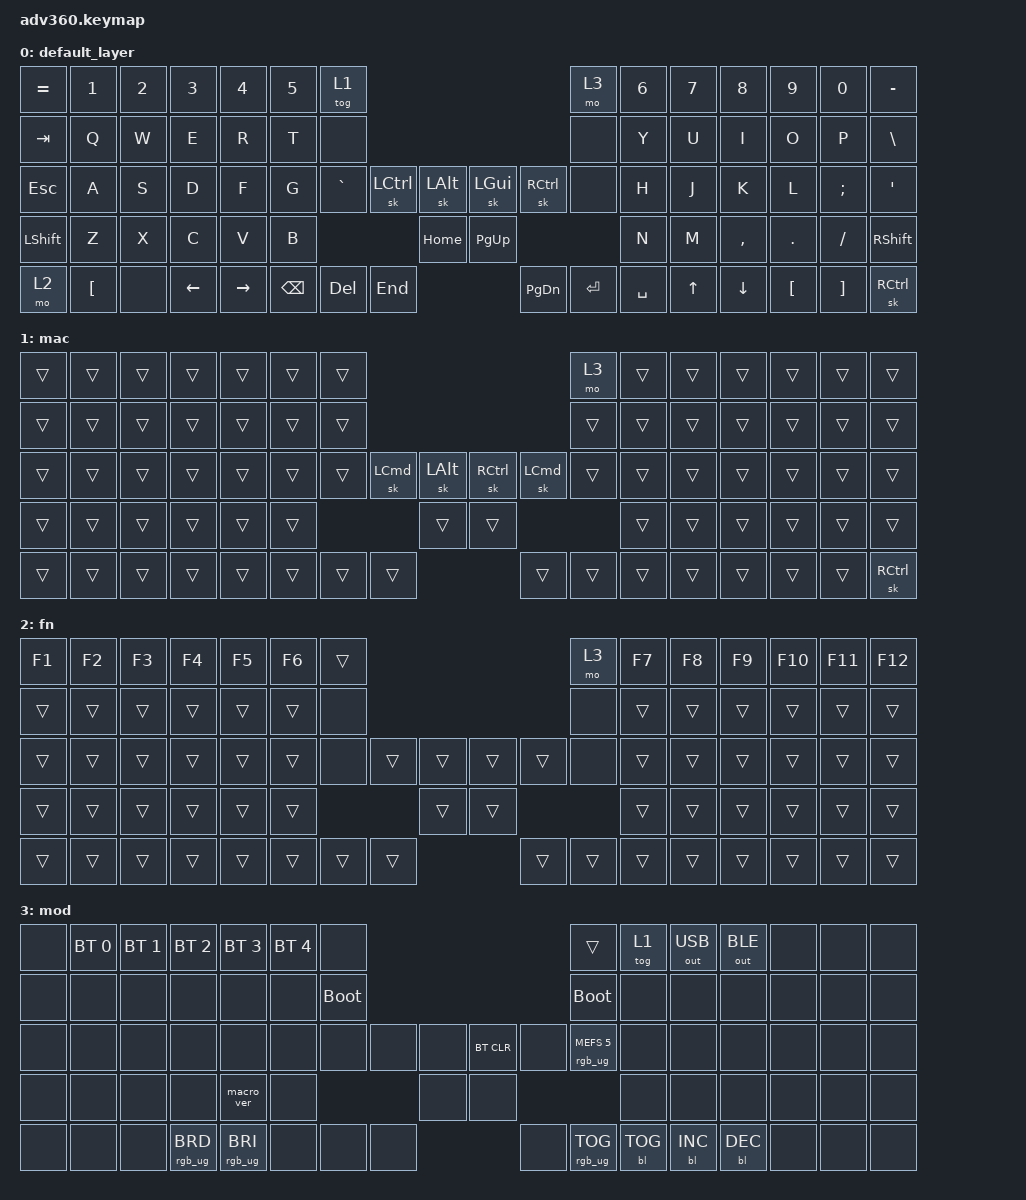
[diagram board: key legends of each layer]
#include <behaviors.dtsi>
#include <dt-bindings/zmk/keys.h>
#include <dt-bindings/zmk/bt.h>
#include <dt-bindings/zmk/outputs.h>
#include <dt-bindings/zmk/rgb.h>
#include <dt-bindings/zmk/backlight.h>

// https://zmk.dev/docs/keymaps/behaviors/sticky-key
&sk {
  // default: 1000ms (1s)
  release-after-ms = <1000>;
  // Deactivates the sticky key on the next key being pressed, instead of
  // being released.
  quick-release;
  // Activate sticky key right before the other key is pressed, prevents
  // host from seeing anything during sticky-key timeout (useful for mouse
  // interactions)
  // NOTE: doesn't compile, ZMK might be too old for the feature.
  //lazy;
};

// https://zmk.dev/docs/keymaps/behaviors/sticky-layer
&sl {
  // default: 1000ms (1s)
  release-after-ms = <1500>;
};


/ {
    behaviors {
      #include "macros.dtsi"
      #include "version.dtsi"
      #ifndef VERSION_MACRO
      macro_ver: macro_ver {
        compatible = "zmk,behavior-macro";
        label = "macro_version";
        #binding-cells = <0>;
        bindings = <&kp RET>;
      };
      #endif

      hm: homerow_mods {
          compatible = "zmk,behavior-hold-tap";
          label = "HOMEROW_MODS";
          #binding-cells = <2>;
          tapping-term-ms = <200>;
          quick_tap_ms = <175>;
          flavor = "tap-preferred";
          bindings = <&kp>, <&kp>;
      };
    };

  keymap {
    compatible = "zmk,keymap";

    // macOS
    //
    // LALT & RALT: Option/Meta
    // LCTRL & RCTRL: Control
    // LGUI & RGUI: Command


    default_layer {
      bindings = <
        &kp EQUAL &kp N1    &kp N2   &kp N3    &kp N4     &kp N5   &tog 1                                                             &mo 3   &kp N6 &kp N7 &kp N8    &kp N9    &kp N0   &kp MINUS
        &kp TAB   &kp Q     &kp W    &kp E     &kp R      &kp T    &none                                                              &none   &kp Y  &kp U  &kp I     &kp O     &kp P    &kp BSLH
        &kp ESC   &kp A     &kp S    &kp D     &kp F      &kp G    &kp GRAVE        &sk LCTRL &sk LALT  &sk LGUI  &sk RCTRL           &none   &kp H  &kp J  &kp K     &kp L     &kp SEMI &kp SQT
        &kp LSHFT &kp Z     &kp X    &kp C     &kp V      &kp B                               &kp HOME  &kp PG_UP                             &kp N  &kp M  &kp COMMA &kp DOT   &kp FSLH &kp RSHFT
        &mo 2     &kp LBKT  &none &kp LEFT  &kp RIGHT                    &kp BSPC &kp DEL  &kp END   &kp PG_DN &kp ENTER &kp SPACE                   &kp UP &kp DOWN  &kp LBKT  &kp RBKT &sk RCTRL
      >;
    };
    mac {
      bindings = <
        &trans &trans &trans &trans &trans &trans   &trans                                                   &mo 3    &trans &trans &trans &trans &trans &trans
        &trans &trans &trans &trans &trans &trans   &trans                                                   &trans   &trans &trans &trans &trans &trans &trans
        &trans &trans &trans &trans &trans &trans   &trans      &sk LCMD  &sk LALT   &sk RCTRL &sk LCMD      &trans   &trans &trans &trans &trans &trans &trans
        &trans &trans &trans &trans &trans &trans                         &trans     &trans                           &trans &trans &trans &trans &trans &trans
        &trans &trans &trans &trans &trans                 &trans  &trans &trans     &trans  &trans  &trans                  &trans &trans &trans &trans &sk RCTRL
      >;
    };
    fn {
      bindings = <
        &kp F1 &kp F2 &kp F3 &kp F4 &kp F5 &kp F6  &trans                                          &mo 3  &kp F7 &kp F8 &kp F9 &kp F10 &kp F11 &kp F12
        &trans &trans &trans &trans &trans &trans  &none                                           &none  &trans &trans &trans &trans  &trans  &trans
        &trans &trans &trans &trans &trans &trans  &none        &trans &trans &trans &trans        &none  &trans &trans &trans &trans  &trans  &trans
        &trans &trans &trans &trans &trans &trans                      &trans &trans                      &trans &trans &trans &trans  &trans  &trans
        &trans &trans &trans &trans &trans               &trans &trans &trans &trans &trans &trans               &trans &trans &trans  &trans  &trans
      >;
    };
    mod {
      bindings = <
        &none &bt BT_SEL 0 &bt BT_SEL 1 &bt BT_SEL 2 &bt BT_SEL 3 &bt BT_SEL 4 &none                                                                     &trans                 &tog 1       &out OUT_USB &out OUT_BLE &none &none &none
        &none &none        &none        &none        &none        &none        &bootloader                                                               &bootloader            &none        &none        &none        &none &none &none
        &none &none        &none        &none        &none        &none        &none                   &none &none &bt BT_CLR &none                      &rgb_ug RGB_MEFS_CMD 5 &none        &none        &none        &none &none &none
        &none &none        &none        &none        &macro_ver   &none                                      &none &none                                                        &none        &none        &none        &none &none &none
        &none &none        &none     &rgb_ug RGB_BRD &rgb_ug RGB_BRI                             &none &none &none &none &rgb_ug RGB_TOG &bl BL_TOG                                          &bl BL_INC   &bl BL_DEC   &none &none &none
      >;
    };
  };
};
